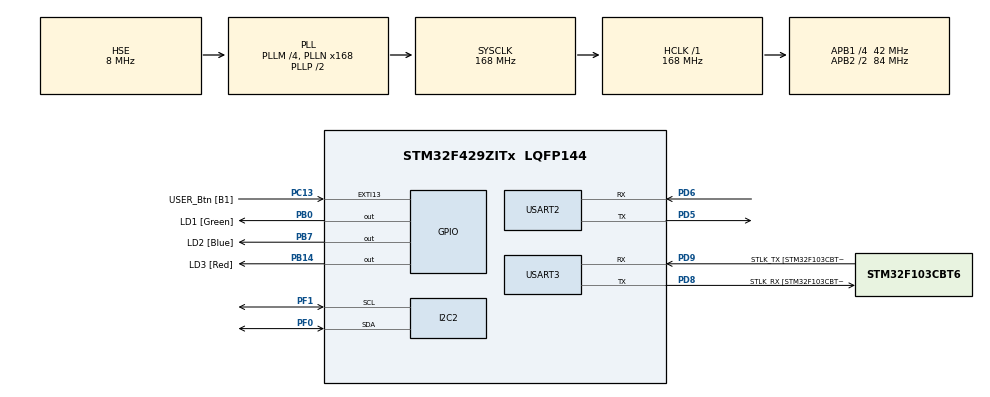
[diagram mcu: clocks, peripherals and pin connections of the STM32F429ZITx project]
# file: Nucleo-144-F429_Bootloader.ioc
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Mcu.Family=STM32F4
Mcu.Name=STM32F429ZITx
Mcu.Package=LQFP144
NVIC.PriorityGroup=NVIC_PRIORITYGROUP_4
NVIC.USART2_IRQn=true\:0\:0\:false\:false\:true\:true\:true
PA13.GPIO_Label=TMS
PA13.Mode=Serial_Wire
PA13.Signal=SYS_JTMS-SWDIO
PA14.GPIO_Label=TCK
PA14.Mode=Serial_Wire
PA14.Signal=SYS_JTCK-SWCLK
PB0.GPIO_Label=LD1 [Green]
PB0.Signal=GPIO_Output
PB14.GPIO_Label=LD3 [Red]
PB14.Signal=GPIO_Output
PB7.GPIO_Label=LD2 [Blue]
PB7.Signal=GPIO_Output
PC13.GPIO_Label=USER_Btn [B1]
PC13.Signal=GPXTI13
PC14/OSC32_IN.Mode=LSE-External-Oscillator
PC14/OSC32_IN.Signal=RCC_OSC32_IN
PC15/OSC32_OUT.Mode=LSE-External-Oscillator
PC15/OSC32_OUT.Signal=RCC_OSC32_OUT
PD5.Mode=Asynchronous
PD5.Signal=USART2_TX
PD6.Mode=Asynchronous
PD6.Signal=USART2_RX
PD8.GPIO_Label=STLK_RX [STM32F103CBT6_PA3]
PD8.Mode=Asynchronous
PD8.Signal=USART3_TX
PD9.GPIO_Label=STLK_TX [STM32F103CBT6_PA2]
PD9.Mode=Asynchronous
PD9.Signal=USART3_RX
PF0.Mode=I2C
PF0.Signal=I2C2_SDA
PF1.Mode=I2C
PF1.Signal=I2C2_SCL
PH0/OSC_IN.GPIO_Label=MCO [STM32F103CBT6_PA8]
PH0/OSC_IN.Mode=HSE-External-Clock-Source
PH0/OSC_IN.Signal=RCC_OSC_IN
PH1/OSC_OUT.Mode=HSE-External-Clock-Source
PH1/OSC_OUT.Signal=RCC_OSC_OUT
ProjectManager.HeapSize=0x800
ProjectManager.StackSize=0x800
ProjectManager.TargetToolchain=STM32CubeIDE
RCC.48MHZClocksFreq_Value=48000000
RCC.AHBFreq_Value=168000000
RCC.APB1CLKDivider=RCC_HCLK_DIV4
RCC.APB1Freq_Value=42000000
RCC.APB1TimFreq_Value=84000000
RCC.APB2CLKDivider=RCC_HCLK_DIV2
RCC.APB2Freq_Value=84000000
RCC.APB2TimCLKDivider=2
RCC.APB2TimFreq_Value=168000000
RCC.CortexFreq_Value=168000000
RCC.HCLKFreq_Value=168000000
RCC.HSE_VALUE=8000000
RCC.HSI_VALUE=16000000
RCC.PLLM=4
RCC.PLLMUL=RCC_PLL_MUL9
RCC.PLLN=168
RCC.PLLQ=7
RCC.PLLSourceVirtual=RCC_PLLSOURCE_HSE
RCC.PRESCALERUSB=RCC_USBCLKSOURCE_PLL_DIV1_5
RCC.SYSCLKFreq_VALUE=168000000
RCC.SYSCLKSource=RCC_SYSCLKSOURCE_PLLCLK
RCC.SYSCLKSourceVirtual=RCC_SYSCLKSOURCE_PLLCLK
RCC.USBFreq_Value=48000000
RCC.VCOOutputFreq_Value=336000000
USART2.VirtualMode=VM_ASYNC
USART3.VirtualMode=VM_ASYNC
board=NUCLEO-F429ZI

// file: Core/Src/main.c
/* USER CODE BEGIN Header */
/**
  ******************************************************************************
  * @file           : main.c
  * @brief          : Main program body
  ******************************************************************************
  * @attention
  *
  * <h2><center>&copy; Copyright (c) 2021 STMicroelectronics.
  * All rights reserved.</center></h2>
  *
  * This software component is licensed by ST under BSD 3-Clause license,
  * the "License"; You may not use this file except in compliance with the
  * License. You may obtain a copy of the License at:
  *                        opensource.org/licenses/BSD-3-Clause
  *
  ******************************************************************************
  */
/* USER CODE END Header */
#include "main.h"
#include "i2c.h"
#include "usart.h"
#include "gpio.h"

/* USER CODE BEGIN Includes */
#include "bootcode.h"

/* USER CODE END Includes */

/* USER CODE BEGIN PV */

// bootloader waiting timer
unsigned int iGlobalTimer;
// bootloader waiting timer start flag
unsigned int iGlobalTimerStart;

/* USER CODE END PV */

void SystemClock_Config(void);

/* USER CODE BEGIN 0 */

/*
 * printf function using
 */
#if 1
int __io_putchar(int ch)
{
	HAL_StatusTypeDef res = 0;
	res = HAL_UART_Transmit(&huart2, (uint8_t *)&ch, 1, 0xFFFF);
	if(res == HAL_BUSY)
	{
		HAL_GPIO_WritePin( GPIOB,  GPIO_PIN_0,GPIO_PIN_SET);
	}
	else if(res == HAL_TIMEOUT)
	{
		HAL_GPIO_WritePin( GPIOB,  GPIO_PIN_14,GPIO_PIN_SET);
	}
	return ch;
}
#else
//int __io_putchar(int ch)
//{
//	uint8_t temp[1] = {ch};
//	HAL_UART_Transmit_DMA(&huart2, (uint8_t *)&ch, 1);
//	return ch;
//}

int _write(int file, unsigned char* p, int len)
{
	uint8_t temp[1] = {ch};
	HAL_UART_Transmit(&huart2, temp, 1, 2);
	return len;
}

#endif
/* USER CODE END 0 */

int main(void)
{
  /* USER CODE BEGIN 1 */
	iGlobalTimerStart = 0;
  /* USER CODE END 1 */

  /* MCU Configuration--------------------------------------------------------*/

  /* Reset of all peripherals, Initializes the Flash interface and the Systick. */
  HAL_Init();

  /* Configure the system clock */
  SystemClock_Config();

  /* Initialize all configured peripherals */
  MX_GPIO_Init();
  MX_USART3_UART_Init();
  MX_I2C2_Init();
  MX_USART2_UART_Init();
  /* USER CODE BEGIN 2 */

  //HAL_UART_RxCpltCallback(&huart2);

  bootcode();

  /* USER CODE END 2 */

  /* Infinite loop */
  while (1)
  {

  }
}

void SystemClock_Config(void)
{
  RCC_OscInitTypeDef RCC_OscInitStruct = {0};
  RCC_ClkInitTypeDef RCC_ClkInitStruct = {0};

  /** Configure the main internal regulator output voltage
  */
  __HAL_RCC_PWR_CLK_ENABLE();
  __HAL_PWR_VOLTAGESCALING_CONFIG(PWR_REGULATOR_VOLTAGE_SCALE1);
  /** Initializes the RCC Oscillators according to the specified parameters
  * in the RCC_OscInitTypeDef structure.
  */
  RCC_OscInitStruct.OscillatorType = RCC_OSCILLATORTYPE_HSE;
  RCC_OscInitStruct.HSEState = RCC_HSE_BYPASS;
  RCC_OscInitStruct.PLL.PLLState = RCC_PLL_ON;
  RCC_OscInitStruct.PLL.PLLSource = RCC_PLLSOURCE_HSE;
  RCC_OscInitStruct.PLL.PLLM = 4;
  RCC_OscInitStruct.PLL.PLLN = 168;
  RCC_OscInitStruct.PLL.PLLP = RCC_PLLP_DIV2;
  RCC_OscInitStruct.PLL.PLLQ = 7;
  if (HAL_RCC_OscConfig(&RCC_OscInitStruct) != HAL_OK)
  {
    Error_Handler();
  }
  /** Initializes the CPU, AHB and APB buses clocks
  */
  RCC_ClkInitStruct.ClockType = RCC_CLOCKTYPE_HCLK|RCC_CLOCKTYPE_SYSCLK
                              |RCC_CLOCKTYPE_PCLK1|RCC_CLOCKTYPE_PCLK2;
  RCC_ClkInitStruct.SYSCLKSource = RCC_SYSCLKSOURCE_PLLCLK;
  RCC_ClkInitStruct.AHBCLKDivider = RCC_SYSCLK_DIV1;
  RCC_ClkInitStruct.APB1CLKDivider = RCC_HCLK_DIV4;
  RCC_ClkInitStruct.APB2CLKDivider = RCC_HCLK_DIV2;

  if (HAL_RCC_ClockConfig(&RCC_ClkInitStruct, FLASH_LATENCY_5) != HAL_OK)
  {
    Error_Handler();
  }
}

void Error_Handler(void)
{
}

/************************ (C) COPYRIGHT STMicroelectronics *****END OF FILE****/
